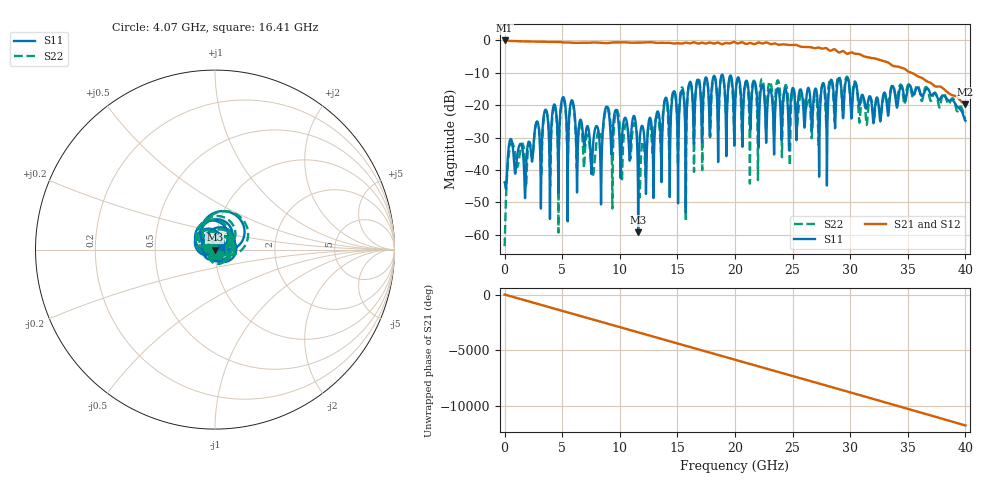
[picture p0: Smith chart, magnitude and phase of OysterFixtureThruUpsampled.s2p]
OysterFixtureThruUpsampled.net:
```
device D22 2 file TeledyneRelayClosed_upsampled.s2p
device D24 2 file SemiRigidCable2_upsampled.s2p
device D25 2 file TeledyneRelayClosed_upsampled.s2p
port 1 D22 1
connect D22 2 D24 1
connect D24 2 D25 2
port 2 D25 1
```
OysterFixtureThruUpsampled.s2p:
# MHz MA S R 50.0
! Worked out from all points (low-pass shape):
!   8000 points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, 5 MHz to 40 GHz, reference 50 ohm
!   highest |S21| = -0.03 dB at 5 MHz (marker M1); lowest = -19.8 dB at 40 GHz (marker M2)
!   |S21| within 3 dB of the highest: start of sweep to 28.16 GHz; 28.43 GHz to 28.77 GHz (338.2 MHz wide, 1.18 % of centre)
!   lowest |S11| = -59.3 dB at 11.6 GHz (marker M3), VSWR 1.00, Z = 49.9 - j0.00358 ohm
!   |S11| at or under -10 dB: start of sweep to end of sweep
!   |S22| runs from -63.6 to -10.9 dB; largest |S21 - S12| = 0.02
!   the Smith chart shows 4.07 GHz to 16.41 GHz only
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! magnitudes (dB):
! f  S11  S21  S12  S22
! 5 MHz  -43.8  0.0  0.0  -63.6
! 560 MHz  -30.5  -0.2  -0.2  -32.0
! 1.78 GHz  -48.7  -0.3  -0.3  -38.2
! 5.07 GHz  -17.5  -0.6  -0.6  -18.3
! 7.65 GHz  -34.1  -0.7  -0.7  -42.1
! 8.9 GHz  -20.5  -0.9  -0.8  -20.6
! 11.6 GHz  -59.3  -0.7  -0.8  -33.4
! 14.68 GHz  -15.8  -1.0  -1.0  -15.5
! 20 GHz  -21.0  -0.6  -0.6  -19.7
! 29.75 GHz  -11.5  -4.2  -4.2  -11.3
! 40 GHz  -24.9  -19.8  -19.6  -24.3
